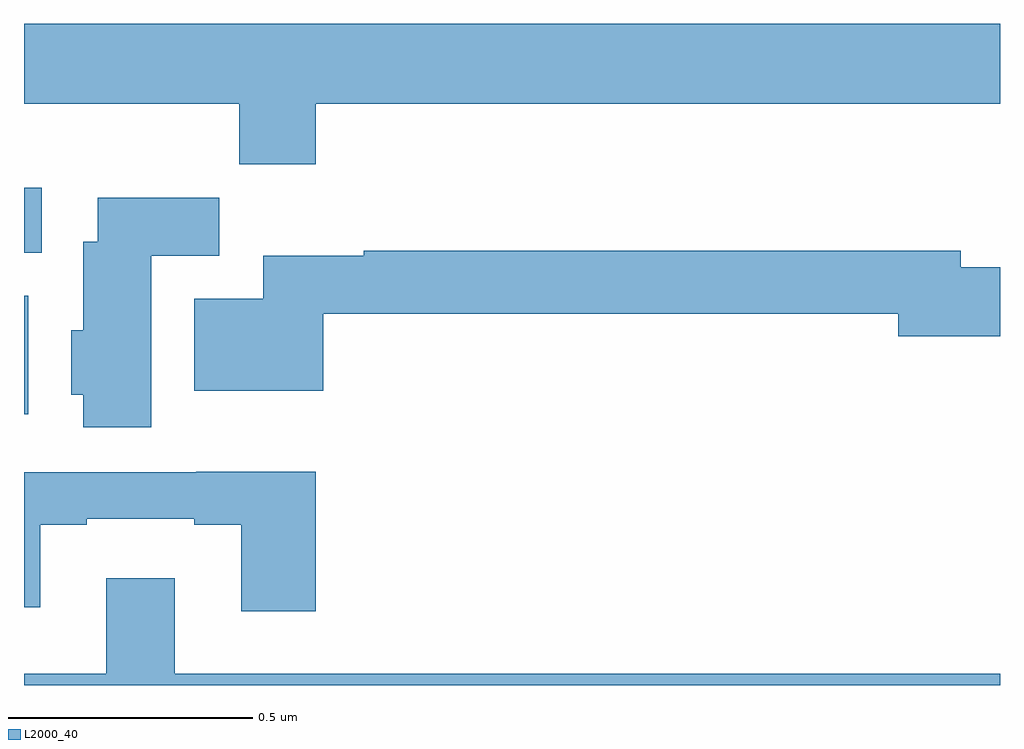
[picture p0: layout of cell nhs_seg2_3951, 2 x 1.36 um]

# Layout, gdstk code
import gdstk
lib = gdstk.Library(unit=1e-6, precision=1e-09)
def R(c, l, rs):  # rectangles x0, y0, x1, y1
    for r in rs: c.add(gdstk.rectangle(r[:2], r[2:], *l))
def P(c, l, *ps):  # polygons
    for p in ps: c.add(gdstk.Polygon(p, *l))
L2000_40 = (2000, 40)

nhs_seg2_3951 = lib.new_cell('nhs_seg2_3951')
R(nhs_seg2_3951, L2000_40, [(160,624.356,160.009,624.598), (160,624.686,160.036,624.82)])
P(nhs_seg2_3951, L2000_40, [(160.598,624.992),(162,624.992),(162,625.156),(160,625.156),(160,624.992),(160.441,624.992),(160.441,624.868),(160.598,624.868)],
  [(160.261,624.68),(160.4,624.68),(160.4,624.799),(160.151,624.799),(160.151,624.709),(160.121,624.709),(160.121,624.528),(160.097,624.528),(160.097,624.396),(160.121,624.396),(160.121,624.329),(160.261,624.329)],
  [(160.613,624.562),(161.792,624.562),(161.792,624.515),(162,624.515),(162,624.657),(161.92,624.657),(161.92,624.691),(160.696,624.691),(160.696,624.68),(160.49,624.68),(160.49,624.592),(160.349,624.592),(160.349,624.404),(160.613,624.404)],
  [(160.598,624.238),(160.353,624.238),(160.353,624.237),(160,624.237),(160,623.96),(160.033,623.96),(160.033,624.129),(160.129,624.129),(160.129,624.141),(160.349,624.141),(160.349,624.129),(160.445,624.129),(160.445,623.952),(160.598,623.952)],
  [(162,623.824),(160.309,623.824),(160.309,624.019),(160.169,624.019),(160.169,623.824),(160,623.824),(160,623.8),(162,623.8)])

lib.write_gds('nhs_seg2_3951.gds')
